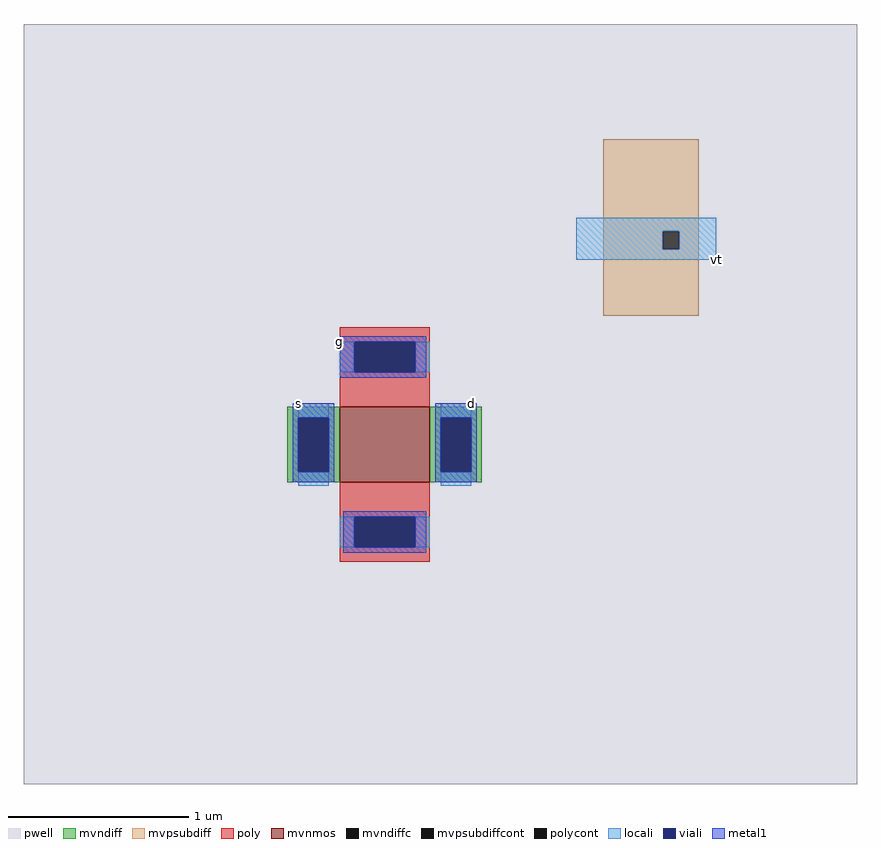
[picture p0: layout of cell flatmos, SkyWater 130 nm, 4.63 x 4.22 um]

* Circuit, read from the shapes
.subckt flatmos d s g
XM1 d g s vt sky130_fd_pr__nfet_g5v0d10v5 w=0.42 l=0.5
.ends

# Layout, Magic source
magic
tech sky130A
magscale 1 2
<< pwell >>
rect 19634 -5518 20560 -4674
<< mvpsubdiff >>
rect 20278 -4904 20384 -4802
rect 20278 -4924 20344 -4904
rect 20362 -4924 20384 -4904
rect 20278 -4998 20384 -4924
<< mvpsubdiffcont >>
rect 20344 -4924 20362 -4904
<< locali >>
rect 20248 -4904 20403 -4889
rect 20248 -4924 20344 -4904
rect 20362 -4924 20403 -4904
rect 20248 -4936 20403 -4924
<< metal1 >>
rect 19985 -5067 19989 -5021
rect 19933 -5099 19979 -5095
rect 20091 -5099 20137 -5095
use sky130_fd_pr__nfet_g5v0d10v5_NQ4AEW  sky130_fd_pr__nfet_g5v0d10v5_NQ4AEW_0
transform 1 0 20035 0 1 -5141
box -108 -130 108 130
<< labels >>
rlabel metal1 20131 -5095 20131 -5095 3 d
port 5 e
rlabel metal1 19939 -5095 19939 -5095 7 s
port 6 w
rlabel metal1 19985 -5027 19985 -5027 1 g
port 7 n
rlabel locali 20403 -4936 20403 -4936 3 vt
<< end >>

# cell sky130_fd_pr__nfet_g5v0d10v5_NQ4AEW: kit device sky130_fd_pr__nfet_g5v0d10v5, w 0.420 l 0.50 m 1 nf 1 diffcov 100 polycov 100 guard 0 glc 1 grc 1 gtc 1 gbc 1 tbcov 100 rlcov 100 topc 1 botc 1 poverlap 0 doverlap 1 lmin 0.50 wmin 0.42 compatible {sky130_fd_pr__nfet_01v8 sky130_fd_pr__nfet_01v8_lvt sky130_fd_bs_flash__special_sonosfet_star sky130_fd_pr__nfet_g5v0d10v5 sky130_fd_pr__nfet_05v0_nvt sky130_fd_pr__nfet_03v3_nvt} full_metal 1 viasrc 100 viadrn 100 viagate 100 viagb 0 viagr 0 viagl 0 viagt 0
